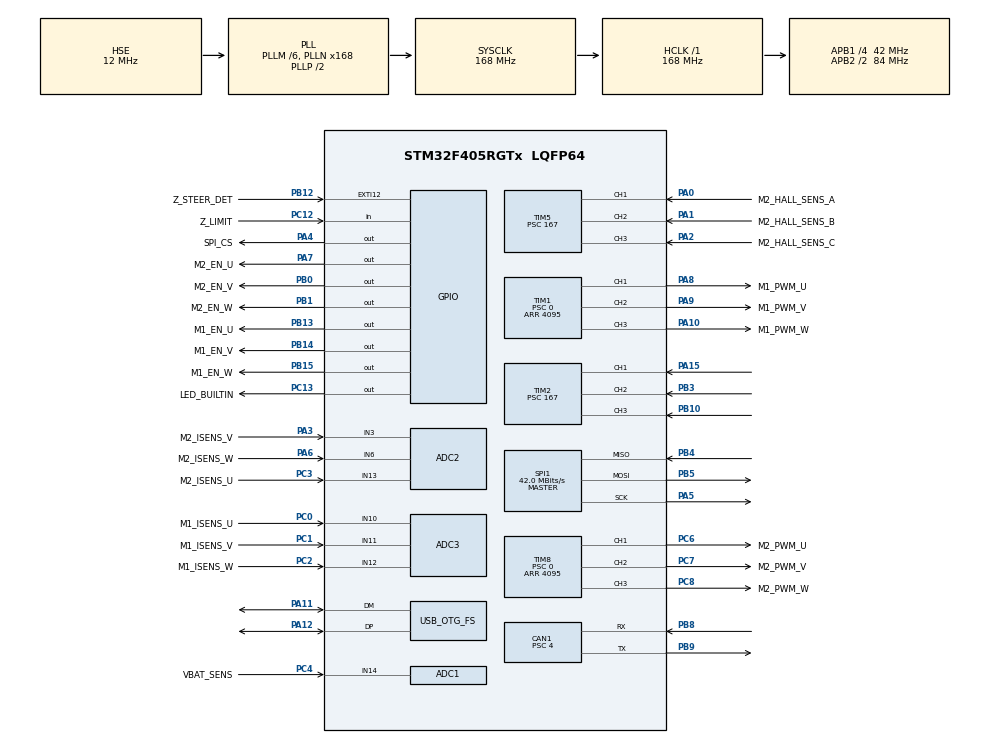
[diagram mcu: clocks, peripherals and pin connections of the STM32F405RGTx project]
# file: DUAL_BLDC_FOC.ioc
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ADC1.Channel-1\#ChannelRegularConversion=ADC_CHANNEL_14
ADC1.ClockPrescaler=ADC_CLOCK_SYNC_PCLK_DIV4
ADC1.ContinuousConvMode=ENABLE
ADC1.InjNumberOfConversion=0
ADC1.NbrOfConversionFlag=1
ADC1.Rank-1\#ChannelRegularConversion=1
ADC1.SamplingTime-1\#ChannelRegularConversion=ADC_SAMPLETIME_480CYCLES
ADC1.ScanConvMode=ENABLE
ADC1.master=1
ADC2.Channel-1\#ChannelRegularConversion=ADC_CHANNEL_13
ADC2.Channel-2\#ChannelRegularConversion=ADC_CHANNEL_3
ADC2.Channel-3\#ChannelRegularConversion=ADC_CHANNEL_6
ADC2.Channel-7\#ChannelInjectedConversion=ADC_CHANNEL_13
ADC2.Channel-8\#ChannelInjectedConversion=ADC_CHANNEL_3
ADC2.Channel-9\#ChannelInjectedConversion=ADC_CHANNEL_6
ADC2.ClockPrescaler=ADC_CLOCK_SYNC_PCLK_DIV4
ADC2.ContinuousConvMode=ENABLE
ADC2.DMAContinuousRequests=ENABLE
ADC2.ExternalTrigConv=ADC_SOFTWARE_START
ADC2.ExternalTrigConvEdge=ADC_EXTERNALTRIGCONVEDGE_NONE
ADC2.ExternalTrigInjecConv=ADC_EXTERNALTRIGINJECCONV_T8_CC4
ADC2.ExternalTrigInjecConvEdge=ADC_EXTERNALTRIGINJECCONVEDGE_FALLING
ADC2.InjNumberOfConversion=3
ADC2.InjectedConvMode=Discontinuous
ADC2.InjectedOffset-7\#ChannelInjectedConversion=0
ADC2.InjectedOffset-8\#ChannelInjectedConversion=0
ADC2.InjectedOffset-9\#ChannelInjectedConversion=0
ADC2.InjectedRank-7\#ChannelInjectedConversion=1
ADC2.InjectedRank-8\#ChannelInjectedConversion=2
ADC2.InjectedRank-9\#ChannelInjectedConversion=3
ADC2.NbrOfConversion=3
ADC2.NbrOfConversionFlag=1
ADC2.Rank-1\#ChannelRegularConversion=1
ADC2.Rank-2\#ChannelRegularConversion=2
ADC2.Rank-3\#ChannelRegularConversion=3
ADC2.SamplingTime-1\#ChannelRegularConversion=ADC_SAMPLETIME_480CYCLES
ADC2.SamplingTime-2\#ChannelRegularConversion=ADC_SAMPLETIME_480CYCLES
ADC2.SamplingTime-3\#ChannelRegularConversion=ADC_SAMPLETIME_480CYCLES
ADC2.SamplingTime-7\#ChannelInjectedConversion=ADC_SAMPLETIME_3CYCLES
ADC2.SamplingTime-8\#ChannelInjectedConversion=ADC_SAMPLETIME_3CYCLES
ADC2.SamplingTime-9\#ChannelInjectedConversion=ADC_SAMPLETIME_3CYCLES
ADC2.ScanConvMode=ENABLE
ADC3.Channel-0\#ChannelRegularConversion=ADC_CHANNEL_10
ADC3.Channel-1\#ChannelRegularConversion=ADC_CHANNEL_11
ADC3.Channel-2\#ChannelRegularConversion=ADC_CHANNEL_12
ADC3.Channel-3\#ChannelInjectedConversion=ADC_CHANNEL_10
ADC3.Channel-4\#ChannelInjectedConversion=ADC_CHANNEL_11
ADC3.Channel-5\#ChannelInjectedConversion=ADC_CHANNEL_12
ADC3.ClockPrescaler=ADC_CLOCK_SYNC_PCLK_DIV4
ADC3.ContinuousConvMode=ENABLE
ADC3.DMAContinuousRequests=ENABLE
ADC3.EnableAnalogWatchDog=false
ADC3.ExternalTrigConv=ADC_SOFTWARE_START
ADC3.ExternalTrigConvEdge=ADC_EXTERNALTRIGCONVEDGE_NONE
ADC3.ExternalTrigInjecConv=ADC_EXTERNALTRIGINJECCONV_T1_CC4
ADC3.ExternalTrigInjecConvEdge=ADC_EXTERNALTRIGINJECCONVEDGE_FALLING
ADC3.InjNumberOfConversion=3
ADC3.InjectedConvMode=Discontinuous
ADC3.InjectedOffset-3\#ChannelInjectedConversion=0
ADC3.InjectedOffset-4\#ChannelInjectedConversion=0
ADC3.InjectedOffset-5\#ChannelInjectedConversion=0
ADC3.InjectedRank-3\#ChannelInjectedConversion=1
ADC3.InjectedRank-4\#ChannelInjectedConversion=2
ADC3.InjectedRank-5\#ChannelInjectedConversion=3
ADC3.NbrOfConversion=3
ADC3.NbrOfConversionFlag=1
ADC3.Rank-0\#ChannelRegularConversion=1
ADC3.Rank-1\#ChannelRegularConversion=2
ADC3.Rank-2\#ChannelRegularConversion=3
ADC3.SamplingTime-0\#ChannelRegularConversion=ADC_SAMPLETIME_480CYCLES
ADC3.SamplingTime-1\#ChannelRegularConversion=ADC_SAMPLETIME_480CYCLES
ADC3.SamplingTime-2\#ChannelRegularConversion=ADC_SAMPLETIME_480CYCLES
ADC3.SamplingTime-3\#ChannelInjectedConversion=ADC_SAMPLETIME_3CYCLES
ADC3.SamplingTime-4\#ChannelInjectedConversion=ADC_SAMPLETIME_3CYCLES
ADC3.SamplingTime-5\#ChannelInjectedConversion=ADC_SAMPLETIME_3CYCLES
ADC3.ScanConvMode=ENABLE
CAN1.ABOM=ENABLE
CAN1.BS1=CAN_BS1_12TQ
CAN1.BS2=CAN_BS2_8TQ
CAN1.CalculateBaudRate=500000
CAN1.CalculateTimeBit=2000
CAN1.CalculateTimeQuantum=95.23809523809524
CAN1.NART=ENABLE
CAN1.Prescaler=4
CAN1.SJW=CAN_SJW_2TQ
Dma.ADC1.4.Direction=DMA_PERIPH_TO_MEMORY
Dma.ADC1.4.FIFOMode=DMA_FIFOMODE_DISABLE
Dma.ADC1.4.Instance=DMA2_Stream4
Dma.ADC1.4.MemDataAlignment=DMA_MDATAALIGN_WORD
Dma.ADC1.4.MemInc=DMA_MINC_ENABLE
Dma.ADC1.4.Mode=DMA_CIRCULAR
Dma.ADC1.4.PeriphDataAlignment=DMA_PDATAALIGN_WORD
Dma.ADC1.4.PeriphInc=DMA_PINC_DISABLE
Dma.ADC1.4.Priority=DMA_PRIORITY_LOW
Dma.ADC2.1.Direction=DMA_PERIPH_TO_MEMORY
Dma.ADC2.1.FIFOMode=DMA_FIFOMODE_DISABLE
Dma.ADC2.1.Instance=DMA2_Stream3
Dma.ADC2.1.MemDataAlignment=DMA_MDATAALIGN_WORD
Dma.ADC2.1.MemInc=DMA_MINC_ENABLE
Dma.ADC2.1.Mode=DMA_CIRCULAR
Dma.ADC2.1.PeriphDataAlignment=DMA_PDATAALIGN_WORD
Dma.ADC2.1.PeriphInc=DMA_PINC_DISABLE
Dma.ADC2.1.Priority=DMA_PRIORITY_VERY_HIGH
Dma.ADC3.0.Direction=DMA_PERIPH_TO_MEMORY
Dma.ADC3.0.FIFOMode=DMA_FIFOMODE_DISABLE
Dma.ADC3.0.Instance=DMA2_Stream0
Dma.ADC3.0.MemDataAlignment=DMA_MDATAALIGN_WORD
Dma.ADC3.0.MemInc=DMA_MINC_ENABLE
Dma.ADC3.0.Mode=DMA_CIRCULAR
Dma.ADC3.0.PeriphDataAlignment=DMA_PDATAALIGN_WORD
Dma.ADC3.0.PeriphInc=DMA_PINC_DISABLE
Dma.ADC3.0.Priority=DMA_PRIORITY_VERY_HIGH
Dma.Request0=ADC3
Dma.Request1=ADC2
Dma.Request2=SPI1_RX
Dma.Request3=SPI1_TX
Dma.Request4=ADC1
Dma.SPI1_RX.2.Direction=DMA_PERIPH_TO_MEMORY
Dma.SPI1_RX.2.FIFOMode=DMA_FIFOMODE_DISABLE
Dma.SPI1_RX.2.Instance=DMA2_Stream2
Dma.SPI1_RX.2.MemDataAlignment=DMA_MDATAALIGN_BYTE
Dma.SPI1_RX.2.MemInc=DMA_MINC_ENABLE
Dma.SPI1_RX.2.Mode=DMA_NORMAL
Dma.SPI1_RX.2.PeriphDataAlignment=DMA_PDATAALIGN_BYTE
Dma.SPI1_RX.2.PeriphInc=DMA_PINC_DISABLE
Dma.SPI1_RX.2.Priority=DMA_PRIORITY_VERY_HIGH
Dma.SPI1_TX.3.Direction=DMA_MEMORY_TO_PERIPH
Dma.SPI1_TX.3.FIFOMode=DMA_FIFOMODE_DISABLE
Dma.SPI1_TX.3.Instance=DMA2_Stream5
Dma.SPI1_TX.3.MemDataAlignment=DMA_MDATAALIGN_BYTE
Dma.SPI1_TX.3.MemInc=DMA_MINC_ENABLE
Dma.SPI1_TX.3.Mode=DMA_NORMAL
Dma.SPI1_TX.3.PeriphDataAlignment=DMA_PDATAALIGN_BYTE
Dma.SPI1_TX.3.PeriphInc=DMA_PINC_DISABLE
Dma.SPI1_TX.3.Priority=DMA_PRIORITY_VERY_HIGH
FREERTOS.Tasks01=defaultTask,24,128,StartDefaultTask,Default,NULL,Dynamic,NULL,NULL
Mcu.Family=STM32F4
Mcu.Name=STM32F405RGTx
Mcu.Package=LQFP64
NVIC.ADC_IRQn=true\:5\:0\:true\:false\:true\:true\:true\:true\:true
NVIC.CAN1_RX0_IRQn=true\:5\:0\:true\:false\:true\:true\:true\:true\:true
NVIC.CAN1_RX1_IRQn=true\:5\:0\:true\:false\:true\:true\:true\:true\:true
NVIC.DMA2_Stream0_IRQn=true\:5\:0\:true\:false\:true\:true\:false\:true\:true
NVIC.DMA2_Stream2_IRQn=true\:5\:0\:true\:false\:true\:true\:false\:true\:true
NVIC.DMA2_Stream3_IRQn=true\:5\:0\:false\:false\:true\:true\:false\:true\:true
NVIC.DMA2_Stream4_IRQn=true\:6\:0\:true\:false\:true\:true\:false\:true\:true
NVIC.DMA2_Stream5_IRQn=true\:5\:0\:true\:false\:true\:true\:false\:true\:true
NVIC.EXTI15_10_IRQn=true\:5\:0\:true\:false\:true\:true\:true\:true\:true
NVIC.OTG_FS_IRQn=true\:5\:0\:false\:false\:true\:true\:false\:true\:true
NVIC.PriorityGroup=NVIC_PRIORITYGROUP_4
NVIC.SPI1_IRQn=true\:5\:0\:true\:false\:true\:true\:true\:true\:true
NVIC.TIM2_IRQn=true\:5\:0\:true\:false\:true\:true\:true\:true\:true
NVIC.TIM3_IRQn=true\:14\:0\:true\:false\:true\:true\:true\:true\:true
NVIC.TIM4_IRQn=true\:5\:0\:true\:false\:true\:true\:true\:true\:true
NVIC.TIM5_IRQn=true\:5\:0\:true\:false\:true\:true\:true\:true\:true
NVIC.TIM7_IRQn=true\:5\:0\:true\:false\:true\:true\:true\:true\:true
NVIC.TIM8_TRG_COM_TIM14_IRQn=true\:15\:0\:false\:false\:true\:false\:false\:true\:true
NVIC.TimeBase=TIM8_TRG_COM_TIM14_IRQn
NVIC.TimeBaseIP=TIM14
PA0-WKUP.GPIO_Label=M2_HALL_SENS_A
PA0-WKUP.GPIO_PuPd=GPIO_PULLUP
PA0-WKUP.Signal=S_TIM5_CH1
PA1.GPIO_Label=M2_HALL_SENS_B
PA1.GPIO_PuPd=GPIO_PULLUP
PA1.Signal=S_TIM5_CH2
PA10.GPIO_Label=M1_PWM_W
PA10.Signal=S_TIM1_CH3
PA11.Mode=Device_Only
PA11.Signal=USB_OTG_FS_DM
PA12.Mode=Device_Only
PA12.Signal=USB_OTG_FS_DP
PA13.Mode=Serial_Wire
PA13.Signal=SYS_JTMS-SWDIO
PA14.Mode=Serial_Wire
PA14.Signal=SYS_JTCK-SWCLK
PA15.GPIO_PuPd=GPIO_PULLUP
PA15.GPIO_Speed=GPIO_SPEED_FREQ_VERY_HIGH
PA15.Signal=S_TIM2_CH1_ETR
PA2.GPIO_Label=M2_HALL_SENS_C
PA2.GPIO_PuPd=GPIO_PULLUP
PA2.Signal=S_TIM5_CH3
PA3.GPIO_Label=M2_ISENS_V
PA3.Signal=ADCx_IN3
PA4.GPIO_Label=SPI_CS
PA4.GPIO_Speed=GPIO_SPEED_FREQ_VERY_HIGH
PA4.Signal=GPIO_Output
PA5.Mode=Full_Duplex_Master
PA5.Signal=SPI1_SCK
PA6.GPIO_Label=M2_ISENS_W
PA6.Signal=ADCx_IN6
PA7.GPIO_Label=M2_EN_U
PA7.GPIO_Speed=GPIO_SPEED_FREQ_VERY_HIGH
PA7.Signal=GPIO_Output
PA8.GPIO_Label=M1_PWM_U
PA8.Signal=S_TIM1_CH1
PA9.GPIO_Label=M1_PWM_V
PA9.Signal=S_TIM1_CH2
PB0.GPIO_Label=M2_EN_V
PB0.GPIO_Speed=GPIO_SPEED_FREQ_VERY_HIGH
PB0.Signal=GPIO_Output
PB1.GPIO_Label=M2_EN_W
PB1.GPIO_Speed=GPIO_SPEED_FREQ_VERY_HIGH
PB1.Signal=GPIO_Output
PB10.GPIO_PuPd=GPIO_PULLUP
PB10.GPIO_Speed=GPIO_SPEED_FREQ_VERY_HIGH
PB10.Signal=S_TIM2_CH3
PB12.GPIO_Label=Z_STEER_DET
PB12.GPIO_ModeDefaultEXTI=GPIO_MODE_IT_RISING
PB12.GPIO_PuPd=GPIO_PULLUP
PB12.Signal=GPXTI12
PB13.GPIO_Label=M1_EN_U
PB13.GPIO_Speed=GPIO_SPEED_FREQ_VERY_HIGH
PB13.Signal=GPIO_Output
PB14.GPIO_Label=M1_EN_V
PB14.GPIO_Speed=GPIO_SPEED_FREQ_VERY_HIGH
PB14.Signal=GPIO_Output
PB15.GPIO_Label=M1_EN_W
PB15.GPIO_Speed=GPIO_SPEED_FREQ_VERY_HIGH
PB15.Signal=GPIO_Output
PB3.GPIO_PuPd=GPIO_PULLUP
PB3.GPIO_Speed=GPIO_SPEED_FREQ_VERY_HIGH
PB3.Signal=S_TIM2_CH2
PB4.Mode=Full_Duplex_Master
PB4.Signal=SPI1_MISO
PB5.Mode=Full_Duplex_Master
PB5.Signal=SPI1_MOSI
PB8.Mode=CAN_Activate
PB8.Signal=CAN1_RX
PB9.Mode=CAN_Activate
PB9.Signal=CAN1_TX
PC0.GPIO_Label=M1_ISENS_U
PC0.Signal=ADCx_IN10
PC1.GPIO_Label=M1_ISENS_V
PC1.Signal=ADCx_IN11
PC12.GPIO_Label=Z_LIMIT
PC12.GPIO_PuPd=GPIO_PULLUP
PC12.Signal=GPIO_Input
PC13-ANTI_TAMP.GPIO_Label=LED_BUILTIN
PC13-ANTI_TAMP.Signal=GPIO_Output
PC2.GPIO_Label=M1_ISENS_W
PC2.Signal=ADCx_IN12
PC3.GPIO_Label=M2_ISENS_U
PC3.Signal=ADCx_IN13
PC4.GPIO_Label=VBAT_SENS
PC4.Signal=ADCx_IN14
PC6.GPIO_Label=M2_PWM_U
PC6.Signal=S_TIM8_CH1
PC7.GPIO_Label=M2_PWM_V
PC7.Signal=S_TIM8_CH2
PC8.GPIO_Label=M2_PWM_W
PC8.Signal=S_TIM8_CH3
PH0-OSC_IN.Mode=HSE-External-Oscillator
PH0-OSC_IN.Signal=RCC_OSC_IN
PH1-OSC_OUT.Mode=HSE-External-Oscillator
PH1-OSC_OUT.Signal=RCC_OSC_OUT
ProjectManager.HeapSize=0x200
ProjectManager.StackSize=0x400
ProjectManager.TargetToolchain=STM32CubeIDE
RCC.48MHZClocksFreq_Value=48000000
RCC.AHBFreq_Value=168000000
RCC.APB1CLKDivider=RCC_HCLK_DIV4
RCC.APB1Freq_Value=42000000
RCC.APB1TimFreq_Value=84000000
RCC.APB2CLKDivider=RCC_HCLK_DIV2
RCC.APB2Freq_Value=84000000
RCC.APB2TimFreq_Value=168000000
RCC.CortexFreq_Value=168000000
RCC.HCLKFreq_Value=168000000
RCC.HSE_VALUE=12000000
RCC.HSI_VALUE=16000000
RCC.LSE_VALUE=32768
RCC.PLLM=6
RCC.PLLN=168
RCC.PLLQ=7
RCC.SYSCLKFreq_VALUE=168000000
RCC.SYSCLKSource=RCC_SYSCLKSOURCE_PLLCLK
RCC.VCOOutputFreq_Value=336000000
SH.ADCx_IN10.0=ADC3_IN10,IN10
SH.ADCx_IN11.0=ADC3_IN11,IN11
SH.ADCx_IN12.0=ADC3_IN12,IN12
SH.ADCx_IN13.0=ADC2_IN13,IN13
SH.ADCx_IN14.0=ADC1_IN14,IN14
SH.ADCx_IN3.0=ADC2_IN3,IN3
SH.ADCx_IN6.0=ADC2_IN6,IN6
SH.S_TIM1_CH1.0=TIM1_CH1,PWM Generation1 CH1
SH.S_TIM1_CH2.0=TIM1_CH2,PWM Generation2 CH2
SH.S_TIM1_CH3.0=TIM1_CH3,PWM Generation3 CH3
SH.S_TIM2_CH1_ETR.0=TIM2_CH1,Xored_Inputs_Hall_Sensor_Interface
SH.S_TIM2_CH2.0=TIM2_CH2,Xored_Inputs_Hall_Sensor_Interface
SH.S_TIM2_CH3.0=TIM2_CH3,Xored_Inputs_Hall_Sensor_Interface
SH.S_TIM5_CH1.0=TIM5_CH1,Xored_Inputs_Hall_Sensor_Interface
SH.S_TIM5_CH2.0=TIM5_CH2,Xored_Inputs_Hall_Sensor_Interface
SH.S_TIM5_CH3.0=TIM5_CH3,Xored_Inputs_Hall_Sensor_Interface
SH.S_TIM8_CH1.0=TIM8_CH1,PWM Generation1 CH1
SH.S_TIM8_CH2.0=TIM8_CH2,PWM Generation2 CH2
SH.S_TIM8_CH3.0=TIM8_CH3,PWM Generation3 CH3
SPI1.BaudRatePrescaler=SPI_BAUDRATEPRESCALER_2
SPI1.CalculateBaudRate=42.0 MBits/s
SPI1.Direction=SPI_DIRECTION_2LINES
SPI1.Mode=SPI_MODE_MASTER
SPI1.VirtualType=VM_MASTER
TIM1.BreakPolarity=TIM_BREAKPOLARITY_LOW
TIM1.BreakState=TIM_BREAK_DISABLE
TIM1.Channel-PWM\ Generation1\ CH1=TIM_CHANNEL_1
TIM1.Channel-PWM\ Generation2\ CH2=TIM_CHANNEL_2
TIM1.Channel-PWM\ Generation3\ CH3=TIM_CHANNEL_3
TIM1.Channel-PWM\ Generation4\ No\ Output=TIM_CHANNEL_4
TIM1.CounterMode=TIM_COUNTERMODE_CENTERALIGNED2
TIM1.OCFastMode_PWM-PWM\ Generation1\ CH1=TIM_OCFAST_ENABLE
TIM1.OCFastMode_PWM-PWM\ Generation2\ CH2=TIM_OCFAST_ENABLE
TIM1.OCFastMode_PWM-PWM\ Generation3\ CH3=TIM_OCFAST_ENABLE
TIM1.OCFastMode_PWM-PWM\ Generation4\ No\ Output=TIM_OCFAST_ENABLE
TIM1.OCMode_PWM-PWM\ Generation4\ No\ Output=TIM_OCMODE_PWM1
TIM1.OCPolarity_4=TIM_OCPOLARITY_HIGH
TIM1.Period=4095
TIM1.Prescaler=0
TIM1.TIM_MasterOutputTrigger=TIM_TRGO_OC4REF
TIM2.AutoReloadPreload=TIM_AUTORELOAD_PRELOAD_DISABLE
TIM2.IC1Filter=15
TIM2.Prescaler=167
TIM3.Prescaler=167
TIM5.AutoReloadPreload=TIM_AUTORELOAD_PRELOAD_ENABLE
TIM5.IC1Filter=15
TIM5.Prescaler=167
TIM7.Period=199
TIM7.Prescaler=83
TIM8.Channel-PWM\ Generation1\ CH1=TIM_CHANNEL_1
TIM8.Channel-PWM\ Generation2\ CH2=TIM_CHANNEL_2
TIM8.Channel-PWM\ Generation3\ CH3=TIM_CHANNEL_3
TIM8.Channel-PWM\ Generation4\ No\ Output=TIM_CHANNEL_4
TIM8.CounterMode=TIM_COUNTERMODE_CENTERALIGNED2
TIM8.OCFastMode_PWM-PWM\ Generation1\ CH1=TIM_OCFAST_ENABLE
TIM8.OCFastMode_PWM-PWM\ Generation2\ CH2=TIM_OCFAST_ENABLE
TIM8.OCFastMode_PWM-PWM\ Generation3\ CH3=TIM_OCFAST_ENABLE
TIM8.OCFastMode_PWM-PWM\ Generation4\ No\ Output=TIM_OCFAST_ENABLE
TIM8.OCMode_PWM-PWM\ Generation1\ CH1=TIM_OCMODE_PWM1
TIM8.OCMode_PWM-PWM\ Generation2\ CH2=TIM_OCMODE_PWM1
TIM8.OCMode_PWM-PWM\ Generation3\ CH3=TIM_OCMODE_PWM1
TIM8.OCMode_PWM-PWM\ Generation4\ No\ Output=TIM_OCMODE_PWM1
TIM8.OCPolarity_4=TIM_OCPOLARITY_HIGH
TIM8.Period=4095
TIM8.Prescaler=0
TIM8.TIM_MasterOutputTrigger=TIM_TRGO_OC4REF
TIM8.TIM_MasterSlaveMode=TIM_MASTERSLAVEMODE_DISABLE
USB_DEVICE.CLASS_NAME_FS=CDC
USB_DEVICE.VirtualMode-CDC_FS=Cdc
USB_DEVICE.VirtualModeFS=Cdc_FS
USB_OTG_FS.VirtualMode=Device_Only
VP_FREERTOS_VS_CMSIS_V2.Mode=CMSIS_V2
VP_SYS_VS_tim14.Mode=TIM14
VP_TIM1_VS_ClockSourceINT.Mode=Internal
VP_TIM1_VS_no_output4.Mode=PWM Generation4 No Output
VP_TIM2_VS_ClockSourceINT.Mode=Internal
VP_TIM3_VS_ClockSourceINT.Mode=Internal
VP_TIM4_VS_ClockSourceINT.Mode=Internal
VP_TIM5_VS_ClockSourceINT.Mode=Internal
VP_TIM7_VS_ClockSourceINT.Mode=Enable_Timer
VP_TIM8_VS_ClockSourceINT.Mode=Internal
VP_TIM8_VS_no_output4.Mode=PWM Generation4 No Output
VP_USB_DEVICE_VS_USB_DEVICE_CDC_FS.Mode=CDC_FS
board=custom

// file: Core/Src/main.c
/* USER CODE BEGIN Header */
/**
  ******************************************************************************
  * @file           : main.c
  * @brief          : Main program body
  ******************************************************************************
  * @attention
  *
  * Copyright (c) 2023 STMicroelectronics.
  * All rights reserved.
  *
  * This software is licensed under terms that can be found in the LICENSE file
  * in the root directory of this software component.
  * If no LICENSE file comes with this software, it is provided AS-IS.
  *
  ******************************************************************************
  */
/* USER CODE END Header */
#include "main.h"
#include "cmsis_os.h"
#include "usb_device.h"

/* USER CODE BEGIN Includes */

#include "math.h"
#include "stdio.h"
#include "stdlib.h"
#include "FLASH_lib.h"
#include "MAGNETIC_SENSOR_AS5048A.h"
#include "SWERVE_DRIVE_BLDC.h"
#include "SWERVE_DRIVE_CAN.h"
#include "TASK_COMMAND.h"
#include "TASK_BLINK.h"

/* USER CODE END Includes */

/* USER CODE BEGIN PTD */

typedef enum
{
	_dq_test, _current_test, _torque_test, _speed_test, _angle_test
}BLDC_TestTypedef;

/* USER CODE END PTD */

/* USER CODE BEGIN PD */

/*PILIH CHANNEL RODA*/
#define WHEEL_0

/*	1: untuk memasukkan default parameter
 * 	0: untuk mode normal
 * */
#define SET_DEFAULT_PARAM 		0

/* USER CODE END PD */

ADC_HandleTypeDef hadc1;
ADC_HandleTypeDef hadc2;
ADC_HandleTypeDef hadc3;
DMA_HandleTypeDef hdma_adc1;
DMA_HandleTypeDef hdma_adc2;
DMA_HandleTypeDef hdma_adc3;

CAN_HandleTypeDef hcan1;

SPI_HandleTypeDef hspi1;
DMA_HandleTypeDef hdma_spi1_rx;
DMA_HandleTypeDef hdma_spi1_tx;

TIM_HandleTypeDef htim1;
TIM_HandleTypeDef htim2;
TIM_HandleTypeDef htim3;
TIM_HandleTypeDef htim4;
TIM_HandleTypeDef htim5;
TIM_HandleTypeDef htim7;
TIM_HandleTypeDef htim8;

/* Definitions for defaultTask */
osThreadId_t defaultTaskHandle;
const osThreadAttr_t defaultTask_attributes = {
  .name = "defaultTask",
  .stack_size = 128 * 4,
  .priority = (osPriority_t) osPriorityNormal,
};
/* USER CODE BEGIN PV */

DLPF_HandleTypeDef 	i_test[3];

BLDC_HandleTypeDef 	WHEELED_handler,
					STEERING_handler;

_Bool 		read_ready = 0,
			wheel_state = 0,
			steer_call_ready = 0;

/* USER CODE END PV */

void SystemClock_Config(void);
static void MX_GPIO_Init(void);
static void MX_DMA_Init(void);
static void MX_ADC1_Init(void);
static void MX_ADC2_Init(void);
static void MX_ADC3_Init(void);
static void MX_CAN1_Init(void);
static void MX_SPI1_Init(void);
static void MX_TIM1_Init(void);
static void MX_TIM5_Init(void);
static void MX_TIM8_Init(void);
static void MX_TIM2_Init(void);
static void MX_TIM7_Init(void);
static void MX_TIM3_Init(void);
static void MX_TIM4_Init(void);
void StartDefaultTask(void *argument);

/* USER CODE BEGIN PFP */
extern uint8_t CDC_Transmit_FS(uint8_t* Buf, uint16_t Len);
/* USER CODE END PFP */

/* USER CODE BEGIN 0 */

//==========================================================================================

void wheel_init ()
{
//#ifdef WHEEL_X
//	wheel_addr = 0x100;
//	STEERING_handler.angle_offset = 0;
//	STEERING_handler.rotor_offset = -23.2;
//#else
//#ifdef WHEEL_0
//	wheel_addr = 0x200;
//	STEERING_handler.angle_offset = -55.0;
//	STEERING_handler.rotor_offset = -2.4;
//#else
//#ifdef WHEEL_1
//	wheel_addr = 0x211;
//	STEERING_handler.angle_offset = 64.0;
//	STEERING_handler.rotor_offset = -50.6;
//#else
//#ifdef WHEEL_2
//	wheel_addr = 0x222;
//	STEERING_handler.angle_offset = -180.0;
//	STEERING_handler.rotor_offset = -10.98;
//#else
//#error "Pilih antara WHEEL_0, WHEEL_1, atau WHEEL_2!"
//#endif
//#endif
//#endif
//#endif

	WHEELED_handler.channel = BLDC_WHEELED;
	STEERING_handler.channel = BLDC_STEERING;
	WHEELED_handler.last_sector_theta = WHEELED_handler.sector_theta;

	CAN_filter_config ();
	HAL_CAN_Start(&hcan1);
	HAL_CAN_ActivateNotification(&hcan1, CAN_IT_RX_FIFO0_MSG_PENDING);
	TxHeader.IDE = CAN_ID_STD;
	TxHeader.RTR = CAN_RTR_DATA;

	HAL_Delay(200);
	FLASH_set_sector_addrs (FLASH_SECTOR_11, 0x080E0000);
#if SET_DEFAULT_PARAM
	set_default_motor_param ();
	flash_save_data ();
#else
	flash_get_data ();
#endif

	LED_BUILTIN_GPIO_Port->BSRR = LED_BUILTIN_Pin;
	battery_read_init ();
	BLDC_init (&WHEELED_handler);
	  BLDC_init (&STEERING_handler);

	dlpf_set_alpha(&i_test[0], 0.01);
	dlpf_set_alpha(&i_test[1], 0.01);
	dlpf_set_alpha(&i_test[2], 0.01);

	BLDC_get_sector (&WHEELED_handler);

	HAL_TIM_Base_Start_IT(&htim3);
	HAL_TIM_Base_Start_IT(&htim4);

	HAL_TIM_Base_Start_IT(&htim7);
	AS5048A_send_data (1, 1, 0x3fff);
}

//==================================================================================

/* USER CODE END 0 */

int main(void)
{

  /* MCU Configuration--------------------------------------------------------*/

  /* Reset of all peripherals, Initializes the Flash interface and the Systick. */
  HAL_Init();

  /* Configure the system clock */
  SystemClock_Config();

  /* Initialize all configured peripherals */
  MX_GPIO_Init();
  MX_DMA_Init();
  MX_ADC1_Init();
  MX_ADC2_Init();
  MX_ADC3_Init();
  MX_CAN1_Init();
  MX_SPI1_Init();
  MX_TIM1_Init();
  MX_TIM5_Init();
  MX_TIM8_Init();
  MX_TIM2_Init();
  MX_TIM7_Init();
  MX_TIM3_Init();
  MX_TIM4_Init();
  /* USER CODE BEGIN 2 */
  FOC_init ();
  wheel_init ();

//  zero_steer ();
//  data_rpm = 300;

  /* USER CODE END 2 */

  /* Init scheduler */
  osKernelInitialize();

  /* Create the thread(s) */
  /* creation of defaultTask */
  defaultTaskHandle = osThreadNew(StartDefaultTask, NULL, &defaultTask_attributes);

  /* USER CODE BEGIN RTOS_THREADS */
  /* add threads, ... */
  blink_task_handle = osThreadNew(start_blink_task, NULL, &blink_task_attributes);
  command_task_handle = osThreadNew(start_command_task, NULL, &command_task_attributes);
  /* USER CODE END RTOS_THREADS */

  /* Start scheduler */
  osKernelStart();
  /* We should never get here as control is now taken by the scheduler */
  /* Infinite loop */
  while (1)
  {

  }
}

void SystemClock_Config(void)
{
  RCC_OscInitTypeDef RCC_OscInitStruct = {0};
  RCC_ClkInitTypeDef RCC_ClkInitStruct = {0};

  /** Configure the main internal regulator output voltage
  */
  __HAL_RCC_PWR_CLK_ENABLE();
  __HAL_PWR_VOLTAGESCALING_CONFIG(PWR_REGULATOR_VOLTAGE_SCALE1);

  /** Initializes the RCC Oscillators according to the specified parameters
  * in the RCC_OscInitTypeDef structure.
  */
  RCC_OscInitStruct.OscillatorType = RCC_OSCILLATORTYPE_HSE;
  RCC_OscInitStruct.HSEState = RCC_HSE_ON;
  RCC_OscInitStruct.PLL.PLLState = RCC_PLL_ON;
  RCC_OscInitStruct.PLL.PLLSource = RCC_PLLSOURCE_HSE;
  RCC_OscInitStruct.PLL.PLLM = 6;
  RCC_OscInitStruct.PLL.PLLN = 168;
  RCC_OscInitStruct.PLL.PLLP = RCC_PLLP_DIV2;
  RCC_OscInitStruct.PLL.PLLQ = 7;
  if (HAL_RCC_OscConfig(&RCC_OscInitStruct) != HAL_OK)
  {
    Error_Handler();
  }

  /** Initializes the CPU, AHB and APB buses clocks
  */
  RCC_ClkInitStruct.ClockType = RCC_CLOCKTYPE_HCLK|RCC_CLOCKTYPE_SYSCLK
                              |RCC_CLOCKTYPE_PCLK1|RCC_CLOCKTYPE_PCLK2;
  RCC_ClkInitStruct.SYSCLKSource = RCC_SYSCLKSOURCE_PLLCLK;
  RCC_ClkInitStruct.AHBCLKDivider = RCC_SYSCLK_DIV1;
  RCC_ClkInitStruct.APB1CLKDivider = RCC_HCLK_DIV4;
  RCC_ClkInitStruct.APB2CLKDivider = RCC_HCLK_DIV2;

  if (HAL_RCC_ClockConfig(&RCC_ClkInitStruct, FLASH_LATENCY_5) != HAL_OK)
  {
    Error_Handler();
  }
}

static void MX_ADC1_Init(void)
{

  ADC_ChannelConfTypeDef sConfig = {0};

  /** Configure the global features of the ADC (Clock, Resolution, Data Alignment and number of conversion)
  */
  hadc1.Instance = ADC1;
  hadc1.Init.ClockPrescaler = ADC_CLOCK_SYNC_PCLK_DIV4;
  hadc1.Init.Resolution = ADC_RESOLUTION_12B;
  hadc1.Init.ScanConvMode = ENABLE;
  hadc1.Init.ContinuousConvMode = ENABLE;
  hadc1.Init.DiscontinuousConvMode = DISABLE;
  hadc1.Init.ExternalTrigConvEdge = ADC_EXTERNALTRIGCONVEDGE_NONE;
  hadc1.Init.ExternalTrigConv = ADC_SOFTWARE_START;
  hadc1.Init.DataAlign = ADC_DATAALIGN_RIGHT;
  hadc1.Init.NbrOfConversion = 1;
  hadc1.Init.DMAContinuousRequests = DISABLE;
  hadc1.Init.EOCSelection = ADC_EOC_SINGLE_CONV;
  if (HAL_ADC_Init(&hadc1) != HAL_OK)
  {
    Error_Handler();
  }

  /** Configure for the selected ADC regular channel its corresponding rank in the sequencer and its sample time.
  */
  sConfig.Channel = ADC_CHANNEL_14;
  sConfig.Rank = 1;
  sConfig.SamplingTime = ADC_SAMPLETIME_480CYCLES;
  if (HAL_ADC_ConfigChannel(&hadc1, &sConfig) != HAL_OK)
  {
    Error_Handler();
  }

}

static void MX_ADC2_Init(void)
{

  ADC_ChannelConfTypeDef sConfig = {0};
  ADC_InjectionConfTypeDef sConfigInjected = {0};

  /** Configure the global features of the ADC (Clock, Resolution, Data Alignment and number of conversion)
  */
  hadc2.Instance = ADC2;
  hadc2.Init.ClockPrescaler = ADC_CLOCK_SYNC_PCLK_DIV4;
  hadc2.Init.Resolution = ADC_RESOLUTION_12B;
  hadc2.Init.ScanConvMode = ENABLE;
  hadc2.Init.ContinuousConvMode = ENABLE;
  hadc2.Init.DiscontinuousConvMode = DISABLE;
  hadc2.Init.ExternalTrigConvEdge = ADC_EXTERNALTRIGCONVEDGE_NONE;
  hadc2.Init.ExternalTrigConv = ADC_SOFTWARE_START;
  hadc2.Init.DataAlign = ADC_DATAALIGN_RIGHT;
  hadc2.Init.NbrOfConversion = 3;
  hadc2.Init.DMAContinuousRequests = ENABLE;
  hadc2.Init.EOCSelection = ADC_EOC_SINGLE_CONV;
  if (HAL_ADC_Init(&hadc2) != HAL_OK)
  {
    Error_Handler();
  }

  /** Configure for the selected ADC regular channel its corresponding rank in the sequencer and its sample time.
  */
  sConfig.Channel = ADC_CHANNEL_13;
  sConfig.Rank = 1;
  sConfig.SamplingTime = ADC_SAMPLETIME_480CYCLES;
  if (HAL_ADC_ConfigChannel(&hadc2, &sConfig) != HAL_OK)
  {
    Error_Handler();
  }

  /** Configure for the selected ADC regular channel its corresponding rank in the sequencer and its sample time.
  */
  sConfig.Channel = ADC_CHANNEL_3;
  sConfig.Rank = 2;
  if (HAL_ADC_ConfigChannel(&hadc2, &sConfig) != HAL_OK)
  {
    Error_Handler();
  }

  /** Configure for the selected ADC regular channel its corresponding rank in the sequencer and its sample time.
  */
  sConfig.Channel = ADC_CHANNEL_6;
  sConfig.Rank = 3;
  if (HAL_ADC_ConfigChannel(&hadc2, &sConfig) != HAL_OK)
  {
    Error_Handler();
  }

  /** Configures for the selected ADC injected channel its corresponding rank in the sequencer and its sample time
  */
  sConfigInjected.InjectedChannel = ADC_CHANNEL_13;
  sConfigInjected.InjectedRank = 1;
  sConfigInjected.InjectedNbrOfConversion = 3;
  sConfigInjected.InjectedSamplingTime = ADC_SAMPLETIME_3CYCLES;
  sConfigInjected.ExternalTrigInjecConvEdge = ADC_EXTERNALTRIGINJECCONVEDGE_FALLING;
  sConfigInjected.ExternalTrigInjecConv = ADC_EXTERNALTRIGINJECCONV_T8_CC4;
  sConfigInjected.AutoInjectedConv = DISABLE;
  sConfigInjected.InjectedDiscontinuousConvMode = ENABLE;
  sConfigInjected.InjectedOffset = 0;
  if (HAL_ADCEx_InjectedConfigChannel(&hadc2, &sConfigInjected) != HAL_OK)
  {
    Error_Handler();
  }

  /** Configures for the selected ADC injected channel its corresponding rank in the sequencer and its sample time
  */
  sConfigInjected.InjectedChannel = ADC_CHANNEL_3;
  sConfigInjected.InjectedRank = 2;
  if (HAL_ADCEx_InjectedConfigChannel(&hadc2, &sConfigInjected) != HAL_OK)
  {
    Error_Handler();
  }

  /** Configures for the selected ADC injected channel its corresponding rank in the sequencer and its sample time
  */
  sConfigInjected.InjectedChannel = ADC_CHANNEL_6;
  sConfigInjected.InjectedRank = 3;
  if (HAL_ADCEx_InjectedConfigChannel(&hadc2, &sConfigInjected) != HAL_OK)
  {
    Error_Handler();
  }

}

static void MX_ADC3_Init(void)
{

  ADC_ChannelConfTypeDef sConfig = {0};
  ADC_InjectionConfTypeDef sConfigInjected = {0};

  /** Configure the global features of the ADC (Clock, Resolution, Data Alignment and number of conversion)
  */
  hadc3.Instance = ADC3;
  hadc3.Init.ClockPrescaler = ADC_CLOCK_SYNC_PCLK_DIV4;
  hadc3.Init.Resolution = ADC_RESOLUTION_12B;
  hadc3.Init.ScanConvMode = ENABLE;
  hadc3.Init.ContinuousConvMode = ENABLE;
  hadc3.Init.DiscontinuousConvMode = DISABLE;
  hadc3.Init.ExternalTrigConvEdge = ADC_EXTERNALTRIGCONVEDGE_NONE;
  hadc3.Init.ExternalTrigConv = ADC_SOFTWARE_START;
  hadc3.Init.DataAlign = ADC_DATAALIGN_RIGHT;
  hadc3.Init.NbrOfConversion = 3;
  hadc3.Init.DMAContinuousRequests = ENABLE;
  hadc3.Init.EOCSelection = ADC_EOC_SINGLE_CONV;
  if (HAL_ADC_Init(&hadc3) != HAL_OK)
  {
    Error_Handler();
  }

  /** Configure for the selected ADC regular channel its corresponding rank in the sequencer and its sample time.
  */
  sConfig.Channel = ADC_CHANNEL_10;
  sConfig.Rank = 1;
  sConfig.SamplingTime = ADC_SAMPLETIME_480CYCLES;
  if (HAL_ADC_ConfigChannel(&hadc3, &sConfig) != HAL_OK)
  {
    Error_Handler();
  }

  /** Configure for the selected ADC regular channel its corresponding rank in the sequencer and its sample time.
  */
  sConfig.Channel = ADC_CHANNEL_11;
  sConfig.Rank = 2;
  if (HAL_ADC_ConfigChannel(&hadc3, &sConfig) != HAL_OK)
  {
    Error_Handler();
  }

  /** Configure for the selected ADC regular channel its corresponding rank in the sequencer and its sample time.
  */
  sConfig.Channel = ADC_CHANNEL_12;
  sConfig.Rank = 3;
  if (HAL_ADC_ConfigChannel(&hadc3, &sConfig) != HAL_OK)
  {
    Error_Handler();
  }

  /** Configures for the selected ADC injected channel its corresponding rank in the sequencer and its sample time
  */
  sConfigInjected.InjectedChannel = ADC_CHANNEL_10;
  sConfigInjected.InjectedRank = 1;
  sConfigInjected.InjectedNbrOfConversion = 3;
  sConfigInjected.InjectedSamplingTime = ADC_SAMPLETIME_3CYCLES;
  sConfigInjected.ExternalTrigInjecConvEdge = ADC_EXTERNALTRIGINJECCONVEDGE_FALLING;
  sConfigInjected.ExternalTrigInjecConv = ADC_EXTERNALTRIGINJECCONV_T1_CC4;
  sConfigInjected.AutoInjectedConv = DISABLE;
  sConfigInjected.InjectedDiscontinuousConvMode = ENABLE;
  sConfigInjected.InjectedOffset = 0;
  if (HAL_ADCEx_InjectedConfigChannel(&hadc3, &sConfigInjected) != HAL_OK)
  {
    Error_Handler();
  }

  /** Configures for the selected ADC injected channel its corresponding rank in the sequencer and its sample time
  */
  sConfigInjected.InjectedChannel = ADC_CHANNEL_11;
  sConfigInjected.InjectedRank = 2;
  if (HAL_ADCEx_InjectedConfigChannel(&hadc3, &sConfigInjected) != HAL_OK)
  {
    Error_Handler();
  }

  /** Configures for the selected ADC injected channel its corresponding rank in the sequencer and its sample time
  */
  sConfigInjected.InjectedChannel = ADC_CHANNEL_12;
  sConfigInjected.InjectedRank = 3;
  if (HAL_ADCEx_InjectedConfigChannel(&hadc3, &sConfigInjected) != HAL_OK)
  {
    Error_Handler();
  }

}

static void MX_CAN1_Init(void)
{

  hcan1.Instance = CAN1;
  hcan1.Init.Prescaler = 4;
  hcan1.Init.Mode = CAN_MODE_NORMAL;
  hcan1.Init.SyncJumpWidth = CAN_SJW_2TQ;
  hcan1.Init.TimeSeg1 = CAN_BS1_12TQ;
  hcan1.Init.TimeSeg2 = CAN_BS2_8TQ;
  hcan1.Init.TimeTriggeredMode = DISABLE;
  hcan1.Init.AutoBusOff = ENABLE;
  hcan1.Init.AutoWakeUp = DISABLE;
  hcan1.Init.AutoRetransmission = ENABLE;
  hcan1.Init.ReceiveFifoLocked = DISABLE;
  hcan1.Init.TransmitFifoPriority = DISABLE;
  if (HAL_CAN_Init(&hcan1) != HAL_OK)
  {
    Error_Handler();
  }

}

static void MX_SPI1_Init(void)
{

  /* SPI1 parameter configuration*/
  hspi1.Instance = SPI1;
  hspi1.Init.Mode = SPI_MODE_MASTER;
  hspi1.Init.Direction = SPI_DIRECTION_2LINES;
  hspi1.Init.DataSize = SPI_DATASIZE_8BIT;
  hspi1.Init.CLKPolarity = SPI_POLARITY_LOW;
  hspi1.Init.CLKPhase = SPI_PHASE_1EDGE;
  hspi1.Init.NSS = SPI_NSS_SOFT;
  hspi1.Init.BaudRatePrescaler = SPI_BAUDRATEPRESCALER_2;
  hspi1.Init.FirstBit = SPI_FIRSTBIT_MSB;
  hspi1.Init.TIMode = SPI_TIMODE_DISABLE;
  hspi1.Init.CRCCalculation = SPI_CRCCALCULATION_DISABLE;
  hspi1.Init.CRCPolynomial = 10;
  if (HAL_SPI_Init(&hspi1) != HAL_OK)
  {
    Error_Handler();
  }

}

static void MX_TIM1_Init(void)
{

  TIM_ClockConfigTypeDef sClockSourceConfig = {0};
  TIM_MasterConfigTypeDef sMasterConfig = {0};
  TIM_OC_InitTypeDef sConfigOC = {0};
  TIM_BreakDeadTimeConfigTypeDef sBreakDeadTimeConfig = {0};

  htim1.Instance = TIM1;
  htim1.Init.Prescaler = 0;
  htim1.Init.CounterMode = TIM_COUNTERMODE_CENTERALIGNED2;
  htim1.Init.Period = 4095;
  htim1.Init.ClockDivision = TIM_CLOCKDIVISION_DIV1;
  htim1.Init.RepetitionCounter = 0;
  htim1.Init.AutoReloadPreload = TIM_AUTORELOAD_PRELOAD_DISABLE;
  if (HAL_TIM_Base_Init(&htim1) != HAL_OK)
  {
    Error_Handler();
  }
  sClockSourceConfig.ClockSource = TIM_CLOCKSOURCE_INTERNAL;
  if (HAL_TIM_ConfigClockSource(&htim1, &sClockSourceConfig) != HAL_OK)
  {
    Error_Handler();
  }
  if (HAL_TIM_PWM_Init(&htim1) != HAL_OK)
  {
    Error_Handler();
  }
  sMasterConfig.MasterOutputTrigger = TIM_TRGO_OC4REF;
  sMasterConfig.MasterSlaveMode = TIM_MASTERSLAVEMODE_DISABLE;
  if (HAL_TIMEx_MasterConfigSynchronization(&htim1, &sMasterConfig) != HAL_OK)
  {
    Error_Handler();
  }
  sConfigOC.OCMode = TIM_OCMODE_PWM1;
  sConfigOC.Pulse = 0;
  sConfigOC.OCPolarity = TIM_OCPOLARITY_HIGH;
  sConfigOC.OCNPolarity = TIM_OCNPOLARITY_HIGH;
  sConfigOC.OCFastMode = TIM_OCFAST_ENABLE;
  sConfigOC.OCIdleState = TIM_OCIDLESTATE_RESET;
  sConfigOC.OCNIdleState = TIM_OCNIDLESTATE_RESET;
  if (HAL_TIM_PWM_ConfigChannel(&htim1, &sConfigOC, TIM_CHANNEL_1) != HAL_OK)
  {
    Error_Handler();
  }
  if (HAL_TIM_PWM_ConfigChannel(&htim1, &sConfigOC, TIM_CHANNEL_2) != HAL_OK)
  {
    Error_Handler();
  }
  if (HAL_TIM_PWM_ConfigChannel(&htim1, &sConfigOC, TIM_CHANNEL_3) != HAL_OK)
  {
    Error_Handler();
  }
  if (HAL_TIM_PWM_ConfigChannel(&htim1, &sConfigOC, TIM_CHANNEL_4) != HAL_OK)
  {
    Error_Handler();
  }
  sBreakDeadTimeConfig.OffStateRunMode = TIM_OSSR_DISABLE;
  sBreakDeadTimeConfig.OffStateIDLEMode = TIM_OSSI_DISABLE;
  sBreakDeadTimeConfig.LockLevel = TIM_LOCKLEVEL_OFF;
  sBreakDeadTimeConfig.DeadTime = 0;
  sBreakDeadTimeConfig.BreakState = TIM_BREAK_DISABLE;
  sBreakDeadTimeConfig.BreakPolarity = TIM_BREAKPOLARITY_LOW;
  sBreakDeadTimeConfig.AutomaticOutput = TIM_AUTOMATICOUTPUT_DISABLE;
  if (HAL_TIMEx_ConfigBreakDeadTime(&htim1, &sBreakDeadTimeConfig) != HAL_OK)
  {
    Error_Handler();
  }
  HAL_TIM_MspPostInit(&htim1);

}

static void MX_TIM2_Init(void)
{

  TIM_ClockConfigTypeDef sClockSourceConfig = {0};
  TIM_HallSensor_InitTypeDef sConfig = {0};
  TIM_MasterConfigTypeDef sMasterConfig = {0};

  htim2.Instance = TIM2;
  htim2.Init.Prescaler = 167;
  htim2.Init.CounterMode = TIM_COUNTERMODE_UP;
  htim2.Init.Period = 4294967295;
  htim2.Init.ClockDivision = TIM_CLOCKDIVISION_DIV1;
  htim2.Init.AutoReloadPreload = TIM_AUTORELOAD_PRELOAD_DISABLE;
  if (HAL_TIM_Base_Init(&htim2) != HAL_OK)
  {
    Error_Handler();
  }
  sClockSourceConfig.ClockSource = TIM_CLOCKSOURCE_INTERNAL;
  if (HAL_TIM_ConfigClockSource(&htim2, &sClockSourceConfig) != HAL_OK)
  {
    Error_Handler();
  }
  sConfig.IC1Polarity = TIM_ICPOLARITY_RISING;
  sConfig.IC1Prescaler = TIM_ICPSC_DIV1;
  sConfig.IC1Filter = 15;
  sConfig.Commutation_Delay = 0;
  if (HAL_TIMEx_HallSensor_Init(&htim2, &sConfig) != HAL_OK)
  {
    Error_Handler();
  }
  sMasterConfig.MasterOutputTrigger = TIM_TRGO_OC2REF;
  sMasterConfig.MasterSlaveMode = TIM_MASTERSLAVEMODE_DISABLE;
  if (HAL_TIMEx_MasterConfigSynchronization(&htim2, &sMasterConfig) != HAL_OK)
  {
    Error_Handler();
  }

}

static void MX_TIM3_Init(void)
{

  TIM_ClockConfigTypeDef sClockSourceConfig = {0};
  TIM_MasterConfigTypeDef sMasterConfig = {0};

  htim3.Instance = TIM3;
  htim3.Init.Prescaler = 167;
  htim3.Init.CounterMode = TIM_COUNTERMODE_UP;
  htim3.Init.Period = 65535;
  htim3.Init.ClockDivision = TIM_CLOCKDIVISION_DIV1;
  htim3.Init.AutoReloadPreload = TIM_AUTORELOAD_PRELOAD_DISABLE;
  if (HAL_TIM_Base_Init(&htim3) != HAL_OK)
  {
    Error_Handler();
  }
  sClockSourceConfig.ClockSource = TIM_CLOCKSOURCE_INTERNAL;
  if (HAL_TIM_ConfigClockSource(&htim3, &sClockSourceConfig) != HAL_OK)
  {
    Error_Handler();
  }
  sMasterConfig.MasterOutputTrigger = TIM_TRGO_RESET;
  sMasterConfig.MasterSlaveMode = TIM_MASTERSLAVEMODE_DISABLE;
  if (HAL_TIMEx_MasterConfigSynchronization(&htim3, &sMasterConfig) != HAL_OK)
  {
    Error_Handler();
  }

}

static void MX_TIM4_Init(void)
{

  TIM_ClockConfigTypeDef sClockSourceConfig = {0};
  TIM_MasterConfigTypeDef sMasterConfig = {0};

  htim4.Instance = TIM4;
  htim4.Init.Prescaler = 83;
  htim4.Init.CounterMode = TIM_COUNTERMODE_UP;
  htim4.Init.Period = 9999;
  htim4.Init.ClockDivision = TIM_CLOCKDIVISION_DIV1;
  htim4.Init.AutoReloadPreload = TIM_AUTORELOAD_PRELOAD_DISABLE;
  if (HAL_TIM_Base_Init(&htim4) != HAL_OK)
  {
    Error_Handler();
  }
  sClockSourceConfig.ClockSource = TIM_CLOCKSOURCE_INTERNAL;
  if (HAL_TIM_ConfigClockSource(&htim4, &sClockSourceConfig) != HAL_OK)
  {
    Error_Handler();
  }
  sMasterConfig.MasterOutputTrigger = TIM_TRGO_RESET;
  sMasterConfig.MasterSlaveMode = TIM_MASTERSLAVEMODE_DISABLE;
  if (HAL_TIMEx_MasterConfigSynchronization(&htim4, &sMasterConfig) != HAL_OK)
  {
    Error_Handler();
  }

}

static void MX_TIM5_Init(void)
{

  TIM_ClockConfigTypeDef sClockSourceConfig = {0};
  TIM_HallSensor_InitTypeDef sConfig = {0};
  TIM_MasterConfigTypeDef sMasterConfig = {0};

  htim5.Instance = TIM5;
  htim5.Init.Prescaler = 167;
  htim5.Init.CounterMode = TIM_COUNTERMODE_UP;
  htim5.Init.Period = 4294967295;
  htim5.Init.ClockDivision = TIM_CLOCKDIVISION_DIV1;
  htim5.Init.AutoReloadPreload = TIM_AUTORELOAD_PRELOAD_ENABLE;
  if (HAL_TIM_Base_Init(&htim5) != HAL_OK)
  {
    Error_Handler();
  }
  sClockSourceConfig.ClockSource = TIM_CLOCKSOURCE_INTERNAL;
  if (HAL_TIM_ConfigClockSource(&htim5, &sClockSourceConfig) != HAL_OK)
  {
    Error_Handler();
  }
  sConfig.IC1Polarity = TIM_ICPOLARITY_RISING;
  sConfig.IC1Prescaler = TIM_ICPSC_DIV1;
  sConfig.IC1Filter = 15;
  sConfig.Commutation_Delay = 0;
  if (HAL_TIMEx_HallSensor_Init(&htim5, &sConfig) != HAL_OK)
  {
    Error_Handler();
  }
  sMasterConfig.MasterOutputTrigger = TIM_TRGO_OC2REF;
  sMasterConfig.MasterSlaveMode = TIM_MASTERSLAVEMODE_DISABLE;
  if (HAL_TIMEx_MasterConfigSynchronization(&htim5, &sMasterConfig) != HAL_OK)
  {
    Error_Handler();
  }

}

static void MX_TIM7_Init(void)
{

  TIM_MasterConfigTypeDef sMasterConfig = {0};

  htim7.Instance = TIM7;
  htim7.Init.Prescaler = 83;
  htim7.Init.CounterMode = TIM_COUNTERMODE_UP;
  htim7.Init.Period = 199;
  htim7.Init.AutoReloadPreload = TIM_AUTORELOAD_PRELOAD_DISABLE;
  if (HAL_TIM_Base_Init(&htim7) != HAL_OK)
  {
    Error_Handler();
  }
  sMasterConfig.MasterOutputTrigger = TIM_TRGO_RESET;
  sMasterConfig.MasterSlaveMode = TIM_MASTERSLAVEMODE_DISABLE;
  if (HAL_TIMEx_MasterConfigSynchronization(&htim7, &sMasterConfig) != HAL_OK)
  {
    Error_Handler();
  }

}

static void MX_TIM8_Init(void)
{

  TIM_ClockConfigTypeDef sClockSourceConfig = {0};
  TIM_MasterConfigTypeDef sMasterConfig = {0};
  TIM_OC_InitTypeDef sConfigOC = {0};
  TIM_BreakDeadTimeConfigTypeDef sBreakDeadTimeConfig = {0};

  htim8.Instance = TIM8;
  htim8.Init.Prescaler = 0;
  htim8.Init.CounterMode = TIM_COUNTERMODE_CENTERALIGNED2;
  htim8.Init.Period = 4095;
  htim8.Init.ClockDivision = TIM_CLOCKDIVISION_DIV1;
  htim8.Init.RepetitionCounter = 0;
  htim8.Init.AutoReloadPreload = TIM_AUTORELOAD_PRELOAD_DISABLE;
  if (HAL_TIM_Base_Init(&htim8) != HAL_OK)
  {
    Error_Handler();
  }
  sClockSourceConfig.ClockSource = TIM_CLOCKSOURCE_INTERNAL;
  if (HAL_TIM_ConfigClockSource(&htim8, &sClockSourceConfig) != HAL_OK)
  {
    Error_Handler();
  }
  if (HAL_TIM_PWM_Init(&htim8) != HAL_OK)
  {
    Error_Handler();
  }
  sMasterConfig.MasterOutputTrigger = TIM_TRGO_OC4REF;
  sMasterConfig.MasterSlaveMode = TIM_MASTERSLAVEMODE_DISABLE;
  if (HAL_TIMEx_MasterConfigSynchronization(&htim8, &sMasterConfig) != HAL_OK)
  {
    Error_Handler();
  }
  sConfigOC.OCMode = TIM_OCMODE_PWM1;
  sConfigOC.Pulse = 0;
  sConfigOC.OCPolarity = TIM_OCPOLARITY_HIGH;
  sConfigOC.OCNPolarity = TIM_OCNPOLARITY_HIGH;
  sConfigOC.OCFastMode = TIM_OCFAST_ENABLE;
  sConfigOC.OCIdleState = TIM_OCIDLESTATE_RESET;
  sConfigOC.OCNIdleState = TIM_OCNIDLESTATE_RESET;
  if (HAL_TIM_PWM_ConfigChannel(&htim8, &sConfigOC, TIM_CHANNEL_1) != HAL_OK)
  {
    Error_Handler();
  }
  if (HAL_TIM_PWM_ConfigChannel(&htim8, &sConfigOC, TIM_CHANNEL_2) != HAL_OK)
  {
    Error_Handler();
  }
  if (HAL_TIM_PWM_ConfigChannel(&htim8, &sConfigOC, TIM_CHANNEL_3) != HAL_OK)
  {
    Error_Handler();
  }
  if (HAL_TIM_PWM_ConfigChannel(&htim8, &sConfigOC, TIM_CHANNEL_4) != HAL_OK)
  {
    Error_Handler();
  }
  sBreakDeadTimeConfig.OffStateRunMode = TIM_OSSR_DISABLE;
  sBreakDeadTimeConfig.OffStateIDLEMode = TIM_OSSI_DISABLE;
  sBreakDeadTimeConfig.LockLevel = TIM_LOCKLEVEL_OFF;
  sBreakDeadTimeConfig.DeadTime = 0;
  sBreakDeadTimeConfig.BreakState = TIM_BREAK_DISABLE;
  sBreakDeadTimeConfig.BreakPolarity = TIM_BREAKPOLARITY_HIGH;
  sBreakDeadTimeConfig.AutomaticOutput = TIM_AUTOMATICOUTPUT_DISABLE;
  if (HAL_TIMEx_ConfigBreakDeadTime(&htim8, &sBreakDeadTimeConfig) != HAL_OK)
  {
    Error_Handler();
  }
  HAL_TIM_MspPostInit(&htim8);

}

static void MX_DMA_Init(void)
{

  /* DMA controller clock enable */
  __HAL_RCC_DMA2_CLK_ENABLE();

  /* DMA interrupt init */
  /* DMA2_Stream0_IRQn interrupt configuration */
  HAL_NVIC_SetPriority(DMA2_Stream0_IRQn, 5, 0);
  HAL_NVIC_EnableIRQ(DMA2_Stream0_IRQn);
  /* DMA2_Stream2_IRQn interrupt configuration */
  HAL_NVIC_SetPriority(DMA2_Stream2_IRQn, 5, 0);
  HAL_NVIC_EnableIRQ(DMA2_Stream2_IRQn);
  /* DMA2_Stream3_IRQn interrupt configuration */
  HAL_NVIC_SetPriority(DMA2_Stream3_IRQn, 5, 0);
  HAL_NVIC_EnableIRQ(DMA2_Stream3_IRQn);
  /* DMA2_Stream4_IRQn interrupt configuration */
  HAL_NVIC_SetPriority(DMA2_Stream4_IRQn, 6, 0);
  HAL_NVIC_EnableIRQ(DMA2_Stream4_IRQn);
  /* DMA2_Stream5_IRQn interrupt configuration */
  HAL_NVIC_SetPriority(DMA2_Stream5_IRQn, 5, 0);
  HAL_NVIC_EnableIRQ(DMA2_Stream5_IRQn);

}

static void MX_GPIO_Init(void)
{
  GPIO_InitTypeDef GPIO_InitStruct = {0};

  /* GPIO Ports Clock Enable */
  __HAL_RCC_GPIOC_CLK_ENABLE();
  __HAL_RCC_GPIOH_CLK_ENABLE();
  __HAL_RCC_GPIOA_CLK_ENABLE();
  __HAL_RCC_GPIOB_CLK_ENABLE();

  /*Configure GPIO pin Output Level */
  HAL_GPIO_WritePin(LED_BUILTIN_GPIO_Port, LED_BUILTIN_Pin, GPIO_PIN_RESET);

  /*Configure GPIO pin Output Level */
  HAL_GPIO_WritePin(GPIOA, SPI_CS_Pin|M2_EN_U_Pin, GPIO_PIN_RESET);

  /*Configure GPIO pin Output Level */
  HAL_GPIO_WritePin(GPIOB, M2_EN_V_Pin|M2_EN_W_Pin|M1_EN_U_Pin|M1_EN_V_Pin
                          |M1_EN_W_Pin, GPIO_PIN_RESET);

  /*Configure GPIO pin : LED_BUILTIN_Pin */
  GPIO_InitStruct.Pin = LED_BUILTIN_Pin;
  GPIO_InitStruct.Mode = GPIO_MODE_OUTPUT_PP;
  GPIO_InitStruct.Pull = GPIO_NOPULL;
  GPIO_InitStruct.Speed = GPIO_SPEED_FREQ_LOW;
  HAL_GPIO_Init(LED_BUILTIN_GPIO_Port, &GPIO_InitStruct);

  /*Configure GPIO pins : SPI_CS_Pin M2_EN_U_Pin */
  GPIO_InitStruct.Pin = SPI_CS_Pin|M2_EN_U_Pin;
  GPIO_InitStruct.Mode = GPIO_MODE_OUTPUT_PP;
  GPIO_InitStruct.Pull = GPIO_NOPULL;
  GPIO_InitStruct.Speed = GPIO_SPEED_FREQ_VERY_HIGH;
  HAL_GPIO_Init(GPIOA, &GPIO_InitStruct);

  /*Configure GPIO pins : M2_EN_V_Pin M2_EN_W_Pin M1_EN_U_Pin M1_EN_V_Pin
                           M1_EN_W_Pin */
  GPIO_InitStruct.Pin = M2_EN_V_Pin|M2_EN_W_Pin|M1_EN_U_Pin|M1_EN_V_Pin
                          |M1_EN_W_Pin;
  GPIO_InitStruct.Mode = GPIO_MODE_OUTPUT_PP;
  GPIO_InitStruct.Pull = GPIO_NOPULL;
  GPIO_InitStruct.Speed = GPIO_SPEED_FREQ_VERY_HIGH;
  HAL_GPIO_Init(GPIOB, &GPIO_InitStruct);

  /*Configure GPIO pin : Z_STEER_DET_Pin */
  GPIO_InitStruct.Pin = Z_STEER_DET_Pin;
  GPIO_InitStruct.Mode = GPIO_MODE_IT_RISING;
  GPIO_InitStruct.Pull = GPIO_PULLUP;
  HAL_GPIO_Init(Z_STEER_DET_GPIO_Port, &GPIO_InitStruct);

  /*Configure GPIO pin : Z_LIMIT_Pin */
  GPIO_InitStruct.Pin = Z_LIMIT_Pin;
  GPIO_InitStruct.Mode = GPIO_MODE_INPUT;
  GPIO_InitStruct.Pull = GPIO_PULLUP;
  HAL_GPIO_Init(Z_LIMIT_GPIO_Port, &GPIO_InitStruct);

  /* EXTI interrupt init*/
  HAL_NVIC_SetPriority(EXTI15_10_IRQn, 5, 0);
  HAL_NVIC_EnableIRQ(EXTI15_10_IRQn);

}

void StartDefaultTask(void *argument)
{
  /* init code for USB_DEVICE */
  MX_USB_DEVICE_Init();
	float angle_steer_call = angle_sens;
	uint32_t t_validate = HAL_GetTick();

	wheel_state = 0;
  /* USER CODE BEGIN 5 */
  /* Infinite loop */
  for(;;)
  {
	if (wheel_state){
		if (!steer_call_ready){
		  if (HAL_GetTick() - t_validate > 1000) steer_call_ready = 1;
		}
		angle_steer_call+=0.02;
		steering_motor_set_angle (angle_steer_call);
	}
	else{
		/*TEST PARAMETERS SPEED & ANGLE*/

//		wheeled_motor_set_speed (0);
//		steering_motor_set_angle (0);
//		osDelay(1000);
//		wheeled_motor_set_speed (100);
//		steering_motor_set_angle (90);
//		osDelay(1000);

		/*TEST PARAMETERS SPEED & ANGLE*/
	}
    osDelay(1);
  }
  /* USER CODE END 5 */
}

void HAL_TIM_PeriodElapsedCallback(TIM_HandleTypeDef *htim)
{
  if (htim->Instance == TIM14) {
    HAL_IncTick();
  }
  /* USER CODE BEGIN Callback 1 */

	if (htim->Instance == TIM3)
	{

	}
	if (htim->Instance == TIM7)
	{
//		if (read_ready)
//		{
//		  if (AS5048A_send_data (1, 1, 0x3fff) == HAL_OK)
//			  read_ready = 0;
//		}
	}
	if (htim->Instance == TIM4)
	{
		counting_time ();
	}
  /* USER CODE END Callback 1 */
}

void Error_Handler(void)
{
  __disable_irq();
  while (1)
  {
  }
}
